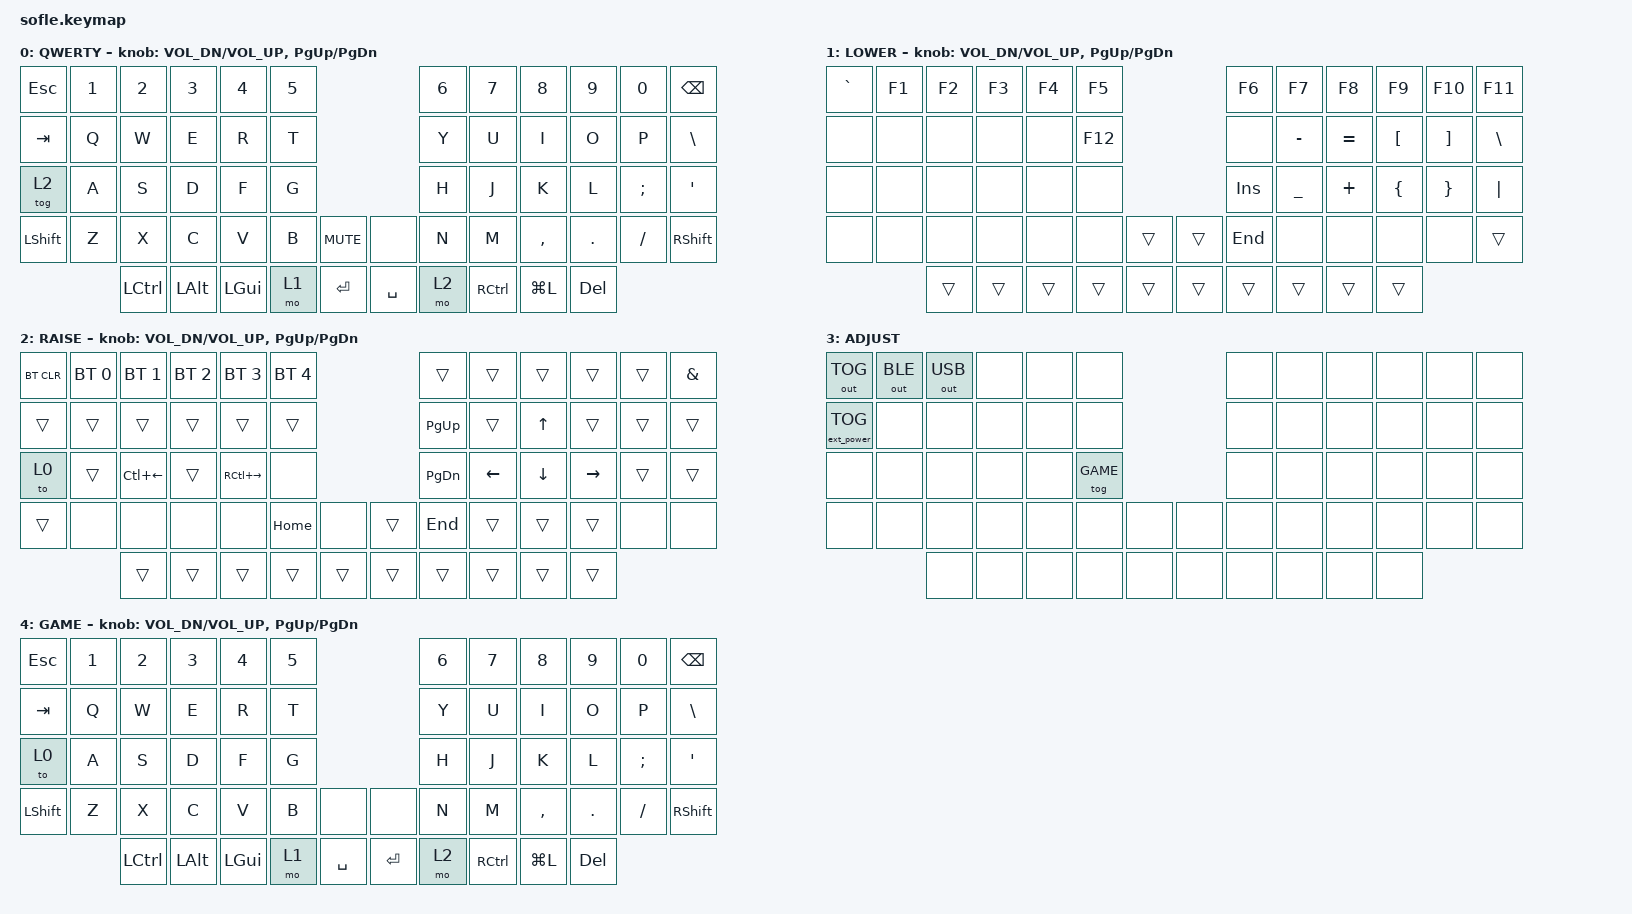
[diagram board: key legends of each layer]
/*
 * Copyright (c) 2020 The ZMK Contributors
 *
 * SPDX-License-Identifier: MIT
 */

#include <behaviors.dtsi>
#include <dt-bindings/zmk/bt.h>
#include <dt-bindings/zmk/ext_power.h>
#include <dt-bindings/zmk/keys.h>
#include <dt-bindings/zmk/outputs.h>

#define BASE 0
#define LOWER 1
#define RAISE 2
#define ADJUST 3
#define GAME 4

/ {
    // Activate ADJUST layer by pressing raise and lower

    conditional_layers {
        compatible = "zmk,conditional-layers";

        adjust_layer {
            if-layers = <LOWER RAISE>;
            then-layer = <ADJUST>;
        };
    };

    keymap {
        compatible = "zmk,keymap";

        default_layer {
            label = "QWERTY";

            // ------------------------------------------------------------------------------------------------------------
            // |  ESC  |  1  |  2  |  3   |  4   |  5   |                   |  6   |   7   |   8   |  9   |   0   |  BSPC |
            // |  TAB  |  Q  |  W  |  E   |  R   |  T   |                   |  Y   |   U   |   I   |  O   |   P   |   \   |
            // | CAPS  |  A  |  S  |  D   |  F   |  G   |                   |  H   |   J   |   K   |  L   |   ;   |   '   |
            // | SHIFT |  Z  |  X  |  C   |  V   |  B   |        |  |       |  N   |   M   |   ,   |  .   |   /   | SHIFT |
            //               |CTRL | ALT  | LGUI | LOWER|  ENTER |  | SPACE | RAISE| CTRL  | LOCK  | DEL  |

            bindings = <
&kp ESC    &kp N1  &kp N2     &kp N3    &kp N4    &kp N5                           &kp N6  &kp N7     &kp N8     &kp N9   &kp N0    &kp BSPC
&kp TAB    &kp Q   &kp W      &kp E     &kp R     &kp T                            &kp Y   &kp U      &kp I      &kp O    &kp P     &kp BSLH
&tog 2     &kp A   &kp S      &kp D     &kp F     &kp G                            &kp H   &kp J      &kp K      &kp L    &kp SEMI  &kp SQT
&kp LSHFT  &kp Z   &kp X      &kp C     &kp V     &kp B   &kp C_MUTE    &none      &kp N   &kp M      &kp COMMA  &kp DOT  &kp FSLH  &kp RSHFT
                   &kp LCTRL  &kp LALT  &kp LGUI  &mo 1   &kp RET       &kp SPACE  &mo 2   &kp RCTRL  &kp LG(L)  &kp DEL
            >;

            sensor-bindings = <&inc_dec_kp C_VOL_DN C_VOL_UP &inc_dec_kp PG_UP PG_DN>;
        };

        lower_layer {
            label = "LOWER";

            // TODO: Some binds are waiting for shifted keycode support.
            // ------------------------------------------------------------------------------------------------------------
            // | `~   |  F1  |  F2  |  F3  |  F4  |  F5  |                   |  F6  |  F7   |  F8   |  F9  |  F10  |  F11  |
            // |      |      |      |      |      |      |                   | F12  |   -   |   =   |   [  |   ]   |   \   |
            // |      |      |      |      |      |      |                   |      |   _   |   +   |   {  |   }   |   |   |
            // |      |      |      |      |      |      |        |  |       | HOME |       |       |      |  END  |       |
            //               |      |      |      |      |        |  |       |      |       |       |      |

            bindings = <
&kp GRAVE  &kp F1  &kp F2  &kp F3  &kp F4  &kp F5                     &kp F6   &kp F7     &kp F8     &kp F9    &kp F10   &kp F11
&none      &none   &none   &none   &none   &kp F12                    &none    &kp MINUS  &kp EQUAL  &kp LBKT  &kp RBKT  &kp BSLH
&none      &none   &none   &none   &none   &none                      &kp INS  &kp UNDER  &kp PLUS   &kp LBRC  &kp RBRC  &kp PIPE
&none      &none   &none   &none   &none   &none    &trans    &trans  &kp END  &none      &none      &none     &none     &trans
                   &trans  &trans  &trans  &trans   &trans    &trans  &trans   &trans     &trans     &trans
            >;

            sensor-bindings = <&inc_dec_kp C_VOL_DN C_VOL_UP &inc_dec_kp PG_UP PG_DN>;
        };

        raise_layer {
            label = "RAISE";

            // ------------------------------------------------------------------------------------------------------------
            // |BTCLR | BT1  | BT2  |  BT3  |  BT4  |  BT5 |                |      |      |       |      |       |       |
            // |      |      |      |       |       |      |                | PGUP |      |   ^   |      |       |       |
            // |      |      |      |       |       | CAPS |                | PGDN |   <- |   v   |  ->  |       |       |
            // |      | UNDO | CUT  | COPY  | PASTE |      |      |  |      | HOME |      |       |      | END   |       |
            //               |      |       |       |      |      |  |      |      |      |       |      |

            bindings = <
&bt BT_CLR  &bt BT_SEL 0  &bt BT_SEL 1  &bt BT_SEL 2  &bt BT_SEL 3   &bt BT_SEL 4                    &trans     &trans    &trans    &trans     &trans  &kp AMPS
&trans      &trans        &trans        &trans        &trans         &trans                          &kp PG_UP  &trans    &kp UP    &trans     &trans  &trans
&to 0       &trans        &kp LC(LEFT)  &trans        &kp RC(RIGHT)  &none                           &kp PG_DN  &kp LEFT  &kp DOWN  &kp RIGHT  &trans  &trans
&trans      &none         &none         &none         &none          &kp HOME      &none     &trans  &kp END    &trans    &trans    &trans     &none   &none
                          &trans        &trans        &trans         &trans        &trans    &trans  &trans     &trans    &trans    &trans
            >;

            sensor-bindings = <&inc_dec_kp C_VOL_DN C_VOL_UP &inc_dec_kp PG_UP PG_DN>;
        };

        Adjust_layer {
            label = "ADJUST";

            // ------------------------------------------------------------------------------------------------------------
            // |USB/BLE|TOGBLE|TOGUSB|      |       |      |                |      |      |       |      |       |       |
            // |EXTPWR |      |      |      |       |      |                |      |      |       |      |       |       |
            // |       |      |      |      |       | GAME |                |      |      |       |      |       |       |
            // |       |      |      |      |       |      |      |  |      |      |      |       |      |       |       |
            //                |      |      |       |      |      |  |      |      |      |       |      |

            bindings = <
&out OUT_TOG       &out OUT_BLE  &out OUT_USB  &none  &none  &none                      &none  &none  &none  &none  &none  &none
&ext_power EP_TOG  &none         &none         &none  &none  &none                      &none  &none  &none  &none  &none  &none
&none              &none         &none         &none  &none  &tog GAME                  &none  &none  &none  &none  &none  &none
&none              &none         &none         &none  &none  &none      &none    &none  &none  &none  &none  &none  &none  &none
                                 &none         &none  &none  &none      &none    &none  &none  &none  &none  &none
            >;
        };

        Game_layer {
            label = "GAME";

            // ------------------------------------------------------------------------------------------------------------
            // |  ESC  |  1  |  2  |  3   |  4   |  5   |                   |  6   |   7   |   8   |  9   |   0   |  BSPC |
            // |  TAB  |  Q  |  W  |  E   |  R   |  T   |                   |  Y   |   U   |   I   |  O   |   P   |   \   |
            // | CTRL  |  A  |  S  |  D   |  F   |  G   |                   |  H   |   J   |   K   |  L   |   ;   |   '   |
            // | SHIFT |  Z  |  X  |  C   |  V   |  B   |        |  |       |  N   |   M   |   ,   |  .   |   /   | SHIFT |
            //               |CTRL | ALT  | LGUI | LOWER|  SPACE |  | ENTER | RAISE| CTRL  | LOCK  | DEL  |

            bindings = <
&kp ESC    &kp N1  &kp N2     &kp N3    &kp N4    &kp N5                        &kp N6  &kp N7     &kp N8     &kp N9   &kp N0    &kp BSPC
&kp TAB    &kp Q   &kp W      &kp E     &kp R     &kp T                         &kp Y   &kp U      &kp I      &kp O    &kp P     &kp BSLH
&to 0      &kp A   &kp S      &kp D     &kp F     &kp G                         &kp H   &kp J      &kp K      &kp L    &kp SEMI  &kp SQT
&kp LSHFT  &kp Z   &kp X      &kp C     &kp V     &kp B   &none        &none    &kp N   &kp M      &kp COMMA  &kp DOT  &kp FSLH  &kp RSHFT
                   &kp LCTRL  &kp LALT  &kp LGUI  &mo 1   &kp SPACE    &kp RET  &mo 2   &kp RCTRL  &kp LG(L)  &kp DEL
            >;

            sensor-bindings = <&inc_dec_kp C_VOL_DN C_VOL_UP &inc_dec_kp PG_UP PG_DN>;
        };
    };
};
